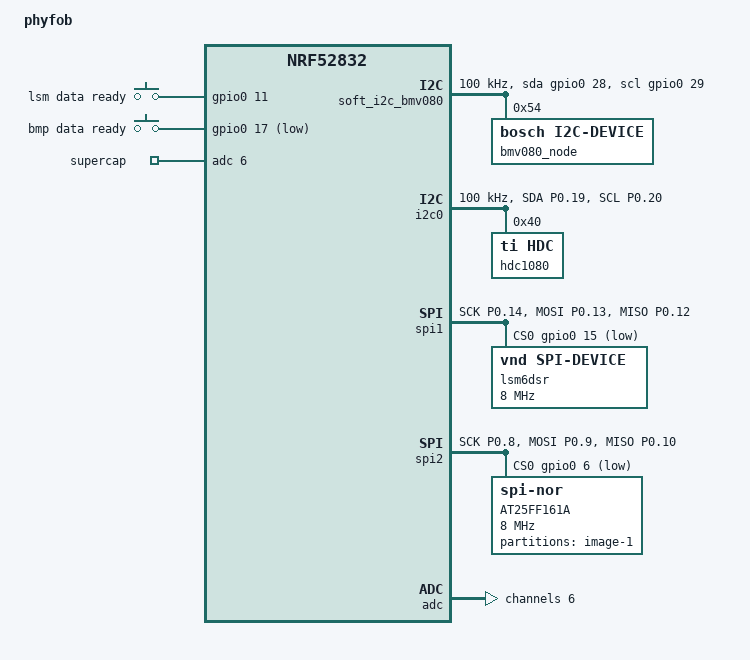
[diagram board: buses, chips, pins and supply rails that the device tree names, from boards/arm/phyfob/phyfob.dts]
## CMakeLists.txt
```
cmake_minimum_required(VERSION 3.20.0)


#list(APPEND ZEPHYR_EXTRA_MODULES "${CMAKE_CURRENT_SOURCE_DIR}/drivers")

find_package(Zephyr REQUIRED HINTS $ENV{ZEPHYR_BASE})


list(APPEND BOARD_ROOT "${PROJECT_SOURCE_DIR}/boards")
#add_subdirectory(drivers)

project(phyfob)
target_sources(app PRIVATE src/event.c)
target_sources(app PRIVATE src/ble.c)
target_sources(app PRIVATE src/hdc.c)
target_sources(app PRIVATE src/bmp5.c)
target_sources(app PRIVATE src/bmpZephyr.c)

target_sources(app PRIVATE src/lsm6dsr.c)
target_sources(app PRIVATE src/lsm6dsr_reg.c)

target_sources(app PRIVATE src/stcc4Zephyr.c)
target_sources(app PRIVATE src/sensirion_i2c.c)
target_sources(app PRIVATE src/stcc4_i2c.c)
target_sources(app PRIVATE src/sensirion_i2c_hal.c)
target_sources(app PRIVATE src/sensirion_common.c)
target_sources(app PRIVATE src/bmv080Zephyr.c)
target_sources(app PRIVATE src/supercap.c)

set(LIB_DIR ${CMAKE_CURRENT_SOURCE_DIR}/lib)
add_library(lib_bmv080 STATIC IMPORTED GLOBAL)
add_library(lib_postProcessor STATIC IMPORTED GLOBAL)
set_target_properties(lib_bmv080 PROPERTIES IMPORTED_LOCATION ${LIB_DIR}/lib_bmv080.a)
set_target_properties(lib_postProcessor PROPERTIES IMPORTED_LOCATION ${LIB_DIR}/lib_postProcessor.a)

message(STATUS "LIB_DIR = ${LIB_DIR}")

if(NOT EXISTS "${LIB_DIR}/lib_bmv080.a")
  message(FATAL_ERROR "lib_bmv080.a nicht gefunden: ${LIB_DIR}/lib_bmv080.a")
endif()

if(NOT EXISTS "${LIB_DIR}/lib_postProcessor.a")
  message(FATAL_ERROR "lib_postProcessor.a nicht gefunden: ${LIB_DIR}/lib_postProcessor.a")
endif()

target_link_libraries(app PRIVATE lib_bmv080)
target_link_libraries(app PRIVATE lib_postProcessor)

#target_sources(app PRIVATE src/bas.c)
target_sources(app PRIVATE src/main.c)
```

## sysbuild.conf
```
SB_CONFIG_PARTITION_MANAGER=y
SB_CONFIG_BOOTLOADER_MCUBOOT=y
SB_CONFIG_PM_EXTERNAL_FLASH_MCUBOOT_SECONDARY=y
SB_CONFIG_PM_OVERRIDE_EXTERNAL_DRIVER_CHECK=y
```

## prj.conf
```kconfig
CONFIG_NEWLIB_LIBC=y #needed for bmp581 library
#CONFIG_MULTITHREADING=y

CONFIG_SOC_NRF52832_QFAA=y
#CONFIG_SOC_NRF52832_ALLOW_SPIM_DESPITE_PAN_58=y
CONFIG_SOC_SERIES_NRF52X=y

CONFIG_PINCTRL=y

CONFIG_SENSOR=y

#CONFIG_HAS_STLIB=y
CONFIG_NFCT_PINS_AS_GPIOS=y

CONFIG_I2C=y
CONFIG_CBPRINTF_FP_SUPPORT=y

#BLE
CONFIG_BT=y
CONFIG_BT_PERIPHERAL=y

CONFIG_BT_DEVICE_NAME="Keyfob"
CONFIG_BT_DEVICE_NAME_DYNAMIC=y
CONFIG_BT_DEVICE_NAME_MAX=70
CONFIG_BT_CTLR_TX_PWR_PLUS_4=n

#reduce footprint
CONFIG_BT_CTLR_PRIVACY=n
CONFIG_BOOT_BANNER=n
CONFIG_SIZE_OPTIMIZATIONS=y

CONFIG_SPI_NRFX=y

###################

CONFIG_NEWLIB_LIBC_FLOAT_PRINTF=y
CONFIG_NEWLIB_LIBC_NANO=n

CONFIG_SYSTEM_WORKQUEUE_STACK_SIZE=1024
CONFIG_MAIN_STACK_SIZE=2048

CONFIG_POWEROFF=y
CONFIG_HW_STACK_PROTECTION=y
#low power

CONFIG_LOG=n
CONFIG_USE_SEGGER_RTT=n
CONFIG_PRINTK=n
CONFIG_SERIAL=n


###
CONFIG_PM_DEVICE=y
CONFIG_PM_DEVICE_RUNTIME=y
CONFIG_FLASH=y
CONFIG_SPI=y
#CONFIG_FLASH_SPI_NOR=y
CONFIG_BOARD_ENABLE_DCDC=y

CONFIG_CLOCK_CONTROL_NRF_K32SRC_RC=n
CONFIG_CLOCK_CONTROL_NRF_K32SRC_XTAL=y
CONFIG_CLOCK_CONTROL_NRF_K32SRC_SYNTH=n


#FOTA#############
CONFIG_ZCBOR=y
CONFIG_MCUMGR=y

# Enable most core commands.
CONFIG_FLASH_MAP=y
CONFIG_STREAM_FLASH=y

CONFIG_IMG_MANAGER=y
CONFIG_MCUMGR_GRP_IMG=y
CONFIG_MCUMGR_GRP_OS=y
#FOTANEW

# Ensure an MCUboot-compatible binary is generated.
CONFIG_BOOTLOADER_MCUBOOT=y

# Allow for large Bluetooth data packets.
CONFIG_BT_L2CAP_TX_MTU=247

CONFIG_BT_L2CAP_TX_BUF_COUNT=20

CONFIG_BT_L2CAP_DYNAMIC_CHANNEL=y

CONFIG_BT_BUF_ACL_RX_SIZE=251

CONFIG_BT_BUF_ACL_TX_SIZE=251
CONFIG_BT_BUF_ACL_TX_COUNT=20

CONFIG_BT_CTLR_RX_BUFFERS=2

CONFIG_BT_CONN_TX_MAX=20

CONFIG_BT_USER_PHY_UPDATE=y
CONFIG_BT_CTLR_PHY_2M=y
CONFIG_BT_USER_DATA_LEN_UPDATE=y
CONFIG_BT_AUTO_DATA_LEN_UPDATE=y
CONFIG_BT_CTLR_DATA_LENGTH_MAX=251

CONFIG_BT_ATT_PREPARE_COUNT=2

# Enable the Bluetooth (unauthenticated) and shell mcumgr transports.
CONFIG_MCUMGR_TRANSPORT_BT=y
CONFIG_MCUMGR_TRANSPORT_BT_AUTHEN=n


#CONFIG_ISR_STACK_SIZE=1024
CONFIG_MPSL_WORK_STACK_SIZE=1024

CONFIG_BT_LL_SW_SPLIT=n

#CONFIG_BT_LL_SOFTDEVICE=n
CONFIG_ADC=n
CONFIG_ADC_NRFX_SAADC=n
CONFIG_NRFX_SAADC=n
CONFIG_BT_BAS=n
```

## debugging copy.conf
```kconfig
CONFIG_NEWLIB_LIBC=y #needed for bmp581 library

CONFIG_SOC_NRF52832_QFAA=y
#CONFIG_SOC_NRF52832_ALLOW_SPIM_DESPITE_PAN_58=y
CONFIG_SOC_SERIES_NRF52X=y

CONFIG_PINCTRL=y

CONFIG_SENSOR=y

#CONFIG_HAS_STLIB=y

CONFIG_ADC=y
CONFIG_ADC_NRFX_SAADC=y
CONFIG_NRFX_SAADC=y
CONFIG_I2C=y
CONFIG_CBPRINTF_FP_SUPPORT=y

#BLE
CONFIG_BT=y
CONFIG_BT_PERIPHERAL=y

CONFIG_BT_DEVICE_NAME="Keyfob"
CONFIG_BT_DEVICE_NAME_DYNAMIC=y
CONFIG_BT_DEVICE_NAME_MAX=70


#reduce footprint
CONFIG_BT_CTLR_PRIVACY=n
CONFIG_BOOT_BANNER=y
CONFIG_SIZE_OPTIMIZATIONS=y

CONFIG_BT_BAS=n
#debugging
CONFIG_CONSOLE=y
CONFIG_PRINTK=y
CONFIG_USE_SEGGER_RTT=y
CONFIG_RTT_CONSOLE=y
CONFIG_LOG=y

#CONFIG_SEGGER_RTT_BUFFER_SIZE_UP=4096

CONFIG_LOG_PRINTK=y
#CONFIG_LOG_DEFAULT_LEVEL=3
#CONFIG_DEBUG_OPTIMIZATIONS=y

CONFIG_LOG_BACKEND_RTT=y
#CONFIG_LOG_MODE_IMMEDIATE=y

#CONFIG_SPI_LOG_LEVEL_INF=y
CONFIG_SPI_NRFX=y


###################

CONFIG_NEWLIB_LIBC_FLOAT_PRINTF=y
CONFIG_NEWLIB_LIBC_NANO=n

CONFIG_SYSTEM_WORKQUEUE_STACK_SIZE=1536
CONFIG_MAIN_STACK_SIZE=4096

#CONFIG_POWEROFF=y
CONFIG_HW_STACK_PROTECTION=y

###
CONFIG_PM_DEVICE=y
CONFIG_PM_DEVICE_RUNTIME=y
CONFIG_FLASH=y
CONFIG_SPI=y

CONFIG_BOARD_ENABLE_DCDC=y

CONFIG_CLOCK_CONTROL_NRF_K32SRC_RC=y
CONFIG_CLOCK_CONTROL_NRF_K32SRC_XTAL=n
CONFIG_CLOCK_CONTROL_NRF_K32SRC_SYNTH=n

#CONFIG_BT_CTLR_TX_PWR_MINUS_16=y


#FOTA#############
CONFIG_ZCBOR=y
CONFIG_MCUMGR=y

# Enable most core commands.
CONFIG_FLASH_MAP=y
CONFIG_STREAM_FLASH=y

#CONFIG_IMG_MANAGER=y
CONFIG_MCUMGR_GRP_IMG=y
CONFIG_MCUMGR_GRP_OS=y
#FOTANEW

# Ensure an MCUboot-compatible binary is generated.
CONFIG_BOOTLOADER_MCUBOOT=y

# Allow for large Bluetooth data packets.
CONFIG_BT_L2CAP_TX_MTU=247

CONFIG_BT_L2CAP_TX_BUF_COUNT=20

CONFIG_BT_L2CAP_DYNAMIC_CHANNEL=y

CONFIG_BT_BUF_ACL_RX_SIZE=251

CONFIG_BT_BUF_ACL_TX_SIZE=251
CONFIG_BT_BUF_ACL_TX_COUNT=20

CONFIG_BT_CTLR_RX_BUFFERS=2

CONFIG_BT_CONN_TX_MAX=20

CONFIG_BT_USER_PHY_UPDATE=y
CONFIG_BT_CTLR_PHY_2M=y
CONFIG_BT_USER_DATA_LEN_UPDATE=y
CONFIG_BT_AUTO_DATA_LEN_UPDATE=y
CONFIG_BT_CTLR_DATA_LENGTH_MAX=251

CONFIG_BT_ATT_PREPARE_COUNT=2

# Enable the Bluetooth (unauthenticated) and shell mcumgr transports.
CONFIG_MCUMGR_TRANSPORT_BT=y
CONFIG_MCUMGR_TRANSPORT_BT_AUTHEN=n

#CONFIG_LSM6DSR=y


#CONFIG_THREAD_NAME=y
#CONFIG_THREAD_ANALYZER=y
#CONFIG_THREAD_ANALYZER_AUTO=y
#CONFIG_THREAD_ANALYZER_RUN_UNLOCKED=y
#CONFIG_THREAD_ANALYZER_USE_PRINTK=y

#CONFIG_ISR_STACK_SIZE=1024
CONFIG_MPSL_WORK_STACK_SIZE=1024

CONFIG_BT_LL_SW_SPLIT=y

#CONFIG_BT_LL_SOFTDEVICE=n
```

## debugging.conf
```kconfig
#reduce footprint
CONFIG_BOOT_BANNER=y
CONFIG_SIZE_OPTIMIZATIONS=y

#debugging

CONFIG_CONSOLE=y
CONFIG_PRINTK=y
CONFIG_USE_SEGGER_RTT=y
CONFIG_RTT_CONSOLE=y
CONFIG_LOG=y
CONFIG_LOG_BUFFER_SIZE=2948

CONFIG_SEGGER_RTT_BUFFER_SIZE_UP=1024
CONFIG_SPI_NOR_SFDP_RUNTIME=y
CONFIG_LOG_PRINTK=y
# Cut BT-stack INFO noise (bt_hci_core/bt_sdc_hci_driver etc.) at boot - it
# was competing with our own printk() output for the small RTT buffer,
# causing our BMV080 init messages to get silently dropped right at boot.
CONFIG_LOG_DEFAULT_LEVEL=2
#CONFIG_DEBUG_OPTIMIZATIONS=y

CONFIG_LOG_BACKEND_RTT=y
CONFIG_LOG_MODE_IMMEDIATE=y


#CONFIG_POWEROFF=y
CONFIG_HW_STACK_PROTECTION=y

###
CONFIG_PM_DEVICE=y
CONFIG_PM_DEVICE_RUNTIME=y

CONFIG_MCUMGR_GRP_IMG=n
CONFIG_MCUMGR_GRP_OS=n

CONFIG_PM_EXTERNAL_FLASH_MCUBOOT_SECONDARY=n
#FOTANEW

# Ensure an MCUboot-compatible binary is generated.
CONFIG_BOOTLOADER_MCUBOOT=n

CONFIG_MCUMGR=n
CONFIG_MCUMGR_TRANSPORT_BT=n
CONFIG_MCUMGR_TRANSPORT_BT_CONN_PARAM_CONTROL=n
CONFIG_MCUMGR_GRP_OS_BOOTLOADER_INFO=n
CONFIG_MCUMGR_TRANSPORT_BT_REASSEMBLY=n

# This build has almost no RAM headroom left (debug/RTT overhead on top of
# the same base), so it stays at the original small BLE MTU/buffer sizes
# instead of prj_3v3.conf's mtu=90 (see comment there) - phyphox falls back
# to whatever the fixed sensors' own experiments (not the batched/repeating
# ones) request, or the phyphox-side default MTU.
CONFIG_BT_L2CAP_TX_MTU=27
CONFIG_BT_BUF_ACL_RX_SIZE=27
CONFIG_BT_BUF_ACL_TX_SIZE=27
CONFIG_BT_CTLR_DATA_LENGTH_MAX=27
```

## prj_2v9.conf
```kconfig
CONFIG_NEWLIB_LIBC=y #needed for bmp581 library
#CONFIG_MULTITHREADING=y

CONFIG_SOC_NRF52832_QFAA=y
#CONFIG_SOC_NRF52832_ALLOW_SPIM_DESPITE_PAN_58=y
CONFIG_SOC_SERIES_NRF52X=y

CONFIG_PINCTRL=y

CONFIG_SENSOR=y

#CONFIG_HAS_STLIB=y
#CONFIG_NFCT_PINS_AS_GPIOS=y

CONFIG_I2C=y
CONFIG_CBPRINTF_FP_SUPPORT=y

#BLE
CONFIG_BT=y
CONFIG_BT_PERIPHERAL=y

CONFIG_BT_DEVICE_NAME="Keyfob"
CONFIG_BT_DEVICE_NAME_DYNAMIC=y
CONFIG_BT_DEVICE_NAME_MAX=70
CONFIG_BT_CTLR_TX_PWR_PLUS_4=n

#reduce footprint
CONFIG_BT_CTLR_PRIVACY=n
CONFIG_BOOT_BANNER=n
CONFIG_SIZE_OPTIMIZATIONS=y

CONFIG_SPI_NRFX=y
CONFIG_SPI_NOR=y
CONFIG_SPI_NOR_SFDP_DEVICETREE=y
CONFIG_SPI_NOR_FLASH_LAYOUT_PAGE_SIZE=4096
###################

CONFIG_NEWLIB_LIBC_FLOAT_PRINTF=y
CONFIG_NEWLIB_LIBC_NANO=n

CONFIG_SYSTEM_WORKQUEUE_STACK_SIZE=1024
CONFIG_MAIN_STACK_SIZE=2048

CONFIG_POWEROFF=y
CONFIG_HW_STACK_PROTECTION=y
#low power

CONFIG_LOG=n
CONFIG_USE_SEGGER_RTT=n
CONFIG_PRINTK=n
CONFIG_SERIAL=n


###
CONFIG_PM_DEVICE=y
CONFIG_PM_DEVICE_RUNTIME=y
CONFIG_FLASH=y
CONFIG_SPI=y
#CONFIG_FLASH_SPI_NOR=y
CONFIG_BOARD_ENABLE_DCDC=y

CONFIG_CLOCK_CONTROL_NRF_K32SRC_RC=n
CONFIG_CLOCK_CONTROL_NRF_K32SRC_XTAL=y
CONFIG_CLOCK_CONTROL_NRF_K32SRC_SYNTH=n


#FOTA#############
CONFIG_NET_BUF=y
CONFIG_ZCBOR=y
CONFIG_MCUMGR=y
CONFIG_MCUMGR_TRANSPORT_BT=y
CONFIG_MCUMGR_TRANSPORT_BT_CONN_PARAM_CONTROL=y
CONFIG_MCUMGR_GRP_OS_BOOTLOADER_INFO=y
CONFIG_MCUMGR_TRANSPORT_BT_REASSEMBLY=y

# Enable most core commands.
CONFIG_FLASH_MAP=y
CONFIG_STREAM_FLASH=y

CONFIG_IMG_MANAGER=y
CONFIG_MCUMGR_GRP_IMG=y
CONFIG_MCUMGR_GRP_OS=y
#FOTANEW

# Ensure an MCUboot-compatible binary is generated.
CONFIG_BOOTLOADER_MCUBOOT=y

# Allow for large Bluetooth data packets.
CONFIG_BT_L2CAP_TX_MTU=247

CONFIG_BT_L2CAP_TX_BUF_COUNT=6

CONFIG_BT_L2CAP_DYNAMIC_CHANNEL=y

CONFIG_BT_BUF_ACL_RX_SIZE=251

CONFIG_BT_BUF_ACL_TX_SIZE=251
CONFIG_BT_BUF_ACL_TX_COUNT=6

#CONFIG_BT_CTLR_RX_BUFFERS=2
CONFIG_WARN_DEPRECATED=n

CONFIG_BT_CONN_TX_MAX=6

CONFIG_BT_USER_PHY_UPDATE=y
CONFIG_BT_CTLR_PHY_2M=y
CONFIG_BT_USER_DATA_LEN_UPDATE=y
CONFIG_BT_AUTO_DATA_LEN_UPDATE=y
CONFIG_BT_CTLR_DATA_LENGTH_MAX=251

CONFIG_BT_ATT_PREPARE_COUNT=2

# Enable the Bluetooth (unauthenticated) and shell mcumgr transports.
CONFIG_MCUMGR_TRANSPORT_BT_PERM_RW=n


#CONFIG_ISR_STACK_SIZE=1024
CONFIG_MPSL_WORK_STACK_SIZE=1024

CONFIG_BT_LL_SW_SPLIT=n

#CONFIG_BT_LL_SOFTDEVICE=n
CONFIG_ADC=n
CONFIG_ADC_NRFX_SAADC=n
CONFIG_NRFX_SAADC=n
CONFIG_BT_BAS=n
```

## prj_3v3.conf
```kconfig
CONFIG_NEWLIB_LIBC=y #needed for bmp581 library
CONFIG_MULTITHREADING=y

#CONFIG_SOC_NRF52832_ALLOW_SPIM_DESPITE_PAN_58=y

CONFIG_PINCTRL=y

CONFIG_SENSOR=y

#CONFIG_HAS_STLIB=y
CONFIG_NFCT_PINS_AS_GPIOS=y

CONFIG_SPI_NOR_SFDP_RUNTIME=y

CONFIG_I2C=y
CONFIG_CBPRINTF_FP_SUPPORT=y

#BLE
CONFIG_BT=y
CONFIG_BT_PERIPHERAL=y

CONFIG_BT_DEVICE_NAME="phyfob"
CONFIG_BT_DEVICE_NAME_DYNAMIC=y
CONFIG_BT_DEVICE_NAME_MAX=40
CONFIG_BT_CTLR_TX_PWR_PLUS_4=n

#reduce footprint
CONFIG_BT_CTLR_PRIVACY=n
CONFIG_BOOT_BANNER=n
CONFIG_SIZE_OPTIMIZATIONS=y

CONFIG_SPI_NRFX=y
CONFIG_SPI_NOR=y
CONFIG_NORDIC_QSPI_NOR=n
CONFIG_SPI_NOR_SFDP_DEVICETREE=n
CONFIG_SPI_NOR_FLASH_LAYOUT_PAGE_SIZE=4096
###################

CONFIG_NEWLIB_LIBC_FLOAT_PRINTF=y
CONFIG_NEWLIB_LIBC_NANO=n

CONFIG_SYSTEM_WORKQUEUE_STACK_SIZE=1024
CONFIG_MAIN_STACK_SIZE=2048

# GATT write callbacks (incl. datalog_configure()/datalog_dump(), which now
# synchronously call into the SPI flash driver and bt_gatt_notify_uuid())
# run on the BT RX thread. The Zephyr default (1024 here) is too tight for
# that call chain, especially in debug builds with -Og.
CONFIG_BT_RX_STACK_SIZE=2048

#CONFIG_POWEROFF=y
CONFIG_HW_STACK_PROTECTION=y
#low power

CONFIG_LOG=n
CONFIG_USE_SEGGER_RTT=n
CONFIG_PRINTK=n
CONFIG_SERIAL=n


###
CONFIG_PM_DEVICE=y
CONFIG_PM_DEVICE_RUNTIME=y
CONFIG_FLASH=y
CONFIG_SPI=y
CONFIG_PM_OVERRIDE_EXTERNAL_DRIVER_CHECK=y
#CONFIG_FLASH_SPI_NOR=y
CONFIG_BOARD_ENABLE_DCDC=y

CONFIG_CLOCK_CONTROL_NRF_K32SRC_RC=n
CONFIG_CLOCK_CONTROL_NRF_K32SRC_XTAL=y
CONFIG_CLOCK_CONTROL_NRF_K32SRC_SYNTH=n


#FOTA#############
CONFIG_MCUMGR_TRANSPORT_BT_PERM_RW_AUTHEN=n
CONFIG_NET_BUF=y
CONFIG_ZCBOR=y
CONFIG_MCUMGR=y
CONFIG_MCUMGR_TRANSPORT_BT=y
CONFIG_MCUMGR_TRANSPORT_BT_CONN_PARAM_CONTROL=y
CONFIG_MCUMGR_GRP_OS_BOOTLOADER_INFO=y
CONFIG_MCUMGR_TRANSPORT_BT_REASSEMBLY=y

# Enable most core commands.
CONFIG_STREAM_FLASH=y

CONFIG_IMG_MANAGER=y
CONFIG_MCUMGR_GRP_IMG=y
CONFIG_MCUMGR_GRP_OS=y

CONFIG_PM_EXTERNAL_FLASH_MCUBOOT_SECONDARY=y
#FOTANEW

# Standard BLE Device Information Service (0x180A), so any generic BLE
# client (not just mcumgr-aware tooling) can read the firmware version via
# the standard Firmware Revision String characteristic (0x2A26). Populated
# automatically from the same VERSION file that signs the MCUboot image.
CONFIG_BT_DIS=y
CONFIG_BT_DIS_FW_REV=y
CONFIG_BT_DIS_MANUF_NAME_STR="phyphox"
# PnP ID would just be a meaningless 0/0/0 placeholder without a real
# registered Vendor ID (Bluetooth SIG or USB-IF) - not worth the clutter.
CONFIG_BT_DIS_PNP=n

# Ensure an MCUboot-compatible binary is generated.
CONFIG_BOOTLOADER_MCUBOOT=y

CONFIG_FLASH_MAP=y

# CRC over the datalog settings record kept in the last sector of the
# datalog partition, so a half-written one is not restored as garbage.
CONFIG_CRC=y

# Allow for large Bluetooth data packets.
CONFIG_BT_L2CAP_TX_MTU=247

CONFIG_BT_L2CAP_TX_BUF_COUNT=10

CONFIG_BT_L2CAP_DYNAMIC_CHANNEL=y

CONFIG_BT_BUF_ACL_RX_SIZE=251

CONFIG_BT_BUF_ACL_TX_SIZE=251
CONFIG_BT_BUF_ACL_TX_COUNT=10

CONFIG_BT_CTLR_RX_BUFFERS=2

CONFIG_BT_CONN_TX_MAX=10

CONFIG_BT_USER_PHY_UPDATE=y
CONFIG_BT_CTLR_PHY_2M=y
CONFIG_BT_USER_DATA_LEN_UPDATE=y
CONFIG_BT_AUTO_DATA_LEN_UPDATE=y
CONFIG_BT_CTLR_DATA_LENGTH_MAX=251

CONFIG_BT_ATT_PREPARE_COUNT=2

# Enable the Bluetooth (unauthenticated) and shell mcumgr transports.
CONFIG_BT=y

#CONFIG_ISR_STACK_SIZE=1024
CONFIG_MPSL_WORK_STACK_SIZE=1024

CONFIG_BT_LL_SW_SPLIT=n

#CONFIG_BT_LL_SOFTDEVICE=n
CONFIG_ADC=n
CONFIG_ADC_NRFX_SAADC=n
CONFIG_NRFX_SAADC=n
CONFIG_BT_BAS=n
```

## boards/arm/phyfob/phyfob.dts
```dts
/*
 * Copyright (c) 2017 Linaro Limited
 *
 * SPDX-License-Identifier: Apache-2.0
 */

 /dts-v1/;
 #include <nordic/nrf52832_qfaa.dtsi>

 / {
	 model = "phyfob";
	 compatible = "phyphox,phyfob";
	 aliases {
		i2c = &i2c0;
		spi= &spi1;
		spi2= &spi2;
		hdc = &hdc_node;
		bmv080 = &bmv080_node;
	 };

	 chosen {
		 zephyr,console = &uart0;
		 zephyr,shell-uart = &uart0;
		 zephyr,uart-mcumgr = &uart0;
		 zephyr,bt-mon-uart = &uart0;
		 zephyr,bt-c2h-uart = &uart0;
		 zephyr,sram = &sram0;
		 zephyr,flash = &flash0;
		 nordic,pm-ext-flash = &at25ff161a;
		 zephyr,code-partition = &slot0_partition;
	 };

	 leds {
		 compatible = "gpio-leds";
	 };
	buttons {
		compatible = "gpio-keys";
		button0: button_0 { //
			gpios = <&gpio0 11 (GPIO_ACTIVE_HIGH)>;
			label = "lsm data ready";
		};
		button1: button_1 { // gpio31 P0.27
			gpios = <&gpio0 17 ( GPIO_PULL_UP | GPIO_ACTIVE_LOW)>;
			label = "bmp data ready";
		};
	};

	/* Supercap voltage sense on P0.30 (AIN6), behind a 2x 1 MOhm divider
	 * (see SUPERCAP_DIVIDER_RATIO in src/supercap.h) - the supercap can
	 * charge above the nRF52832's safe pin voltage, never wire it directly. */
	zephyr,user {
		io-channels = <&adc 6>;
		io-channel-names = "supercap";
	};
 };

 &pinctrl {
    i2c0_default: i2c0_default {
		group1 {
			psels = <NRF_PSEL(TWIM_SDA, 0, 19)>, <NRF_PSEL(TWIM_SCL, 0, 20)>;
			bias-disable;
		};

	};
    i2c0_sleep: i2c0_sleep {
		group1 {
			psels = <NRF_PSEL(TWIM_SDA, 0, 19)>, <NRF_PSEL(TWIM_SCL, 0, 20)>;
			low-power-enable;
		};

	};
	spi_master_default: spi_master_default {
		group1 {
			psels = <NRF_PSEL(SPIM_SCK, 0, 14)>,
					<NRF_PSEL(SPIM_MOSI, 0, 13)>,
					<NRF_PSEL(SPIM_MISO, 0, 12)>;
		};
	};
	spi_master_sleep: spi_master_sleep {
		group1 {
			psels = <NRF_PSEL(SPIM_SCK, 0, 14)>,
					<NRF_PSEL(SPIM_MOSI, 0, 13)>,
					<NRF_PSEL(SPIM_MISO, 0, 12)>;
			low-power-enable;
		};
	};
	spi_flash_default: spi_flash_default {
		group1 {
			psels = <NRF_PSEL(SPIM_SCK, 0, 8)>,
					<NRF_PSEL(SPIM_MOSI, 0, 9)>,
					<NRF_PSEL(SPIM_MISO, 0, 10)>;
		};
	};
	spi_flash_sleep: spi_flash_sleep {
		group1 {
			psels = <NRF_PSEL(SPIM_SCK, 0, 8)>,
					<NRF_PSEL(SPIM_MOSI, 0, 9)>,
					<NRF_PSEL(SPIM_MISO, 0, 10)>;
			low-power-enable;
		};
	};
};

 i2c_0: &i2c0 {
    compatible = "nordic,nrf-twim";
    status = "okay";
    //sda-pin = < 26 >;
    //scl-pin = < 6 >;
	pinctrl-0 = <&i2c0_default>;
	pinctrl-1 = <&i2c0_sleep>;
	pinctrl-names = "default", "sleep";
    label = "i2c";
    clock-frequency = <I2C_BITRATE_STANDARD>;

	hdc_node: hdc1080@40 {
		compatible =  "ti,hdc","ti,hdc1080";
		reg = <0x40>;
		label = "hdc1080";
	};
};

/* BMV080 on its own software (bit-banged) I2C bus on the more accessible
 * P0.28/P0.29 header pins - both hardware TWI-capable peripherals on this
 * chip are already spoken for (i2c0 above for HDC/STCC4/BMP, i2c1's shared
 * silicon block is in use as spi1 for the LSM6DSR), and spi2 (external
 * flash) is a dedicated SPI-only block with no I2C alternative at all. */
/ {
	soft_i2c_bmv080: i2c-gpio-bmv080 {
		compatible = "gpio-i2c";
		status = "okay";
		#address-cells = <1>;
		#size-cells = <0>;
		sda-gpios = <&gpio0 28 (GPIO_OPEN_DRAIN | GPIO_PULL_UP)>;
		scl-gpios = <&gpio0 29 (GPIO_OPEN_DRAIN | GPIO_PULL_UP)>;
		clock-frequency = <I2C_BITRATE_STANDARD>;

		bmv080_node: bmv080@54 {
			compatible = "bosch,i2c-device";
			reg = <0x54>; /* This is the 7-bit I2C address */
			status = "okay";
		};
	};
};

my_spi_master: &spi1 {
	compatible = "nordic,nrf-spi";
	status = "okay";
	pinctrl-0 = <&spi_master_default>;
	pinctrl-1 = <&spi_master_sleep>;
	pinctrl-names = "default", "sleep";
	cs-gpios = <&gpio0 15 ( GPIO_PULL_UP | GPIO_ACTIVE_LOW)>;

	lsm6dsr: lsm6dsr@0 {
		status = "okay";
		compatible = "vnd,spi-device";
		reg = <0>;
		spi-max-frequency = < 8000000 >;
	};

};

flash_spi_master: &spi2 {
	compatible = "nordic,nrf-spi";
	status = "okay";
	pinctrl-0 = <&spi_flash_default>;
	pinctrl-1 = <&spi_flash_sleep>;
	pinctrl-names = "default", "sleep";
	cs-gpios = <&gpio0 6 ( GPIO_PULL_UP | GPIO_ACTIVE_LOW)>;

	at25ff161a: at25ff161a@0 {
		status = "okay";
        compatible = "jedec,spi-nor";
        reg = <0>;
        spi-max-frequency = <8000000>;
        label = "AT25FF161A";
		/*[c2 28 15] [1f 46 08] (mx25)(at25)*/
        jedec-id = [c2 28 15];
        size = <0x200000>;/* 2 MByte */
		has-dpd;
		t-enter-dpd = <3000>;
		t-exit-dpd = <160000>;
    };


};

 &adc {
	status = "okay";
	#address-cells = <1>;
	#size-cells = <0>;
	channel@6 {
		reg = <6>;
		zephyr,gain = "ADC_GAIN_1_6";
		zephyr,reference = "ADC_REF_INTERNAL";
		zephyr,acquisition-time = <ADC_ACQ_TIME_DEFAULT>;
		zephyr,input-positive = <NRF_SAADC_AIN6>;
		zephyr,resolution = <12>;
	};
 };


 &gpiote {
	 status = "okay";
 };

 &gpio0 {
	 status = "okay";
	 sense-edge-mask = < 0xffffffff >;
 };

 /*
 &gpio1 {
	 status = "okay";
 };
 */

 &uart0 {
	 compatible = "nordic,nrf-uarte";
	 status = "disabled";
	 //current-speed = <115200>;
	 //tx-pin = <17>;
	 //rx-pin = <8>;
	 //rts-pin = <5>;
	 //cts-pin = <7>;
 };

 &flash0 {

	partitions {
		compatible = "fixed-partitions";
		#address-cells = <1>;
		#size-cells = <1>;

		boot_partition: partition@0 {
			label = "mcuboot";
			reg = <0x00000000 0xC000>;
		};
		slot0_partition: partition@c000 {
			label = "image-0";
			reg = <0x0000C000 0x00034000>;
		};
		storage_partition: partition@40000 {
			label = "storage";
			reg = <0x00040000 0x00004000>;
		};
	};
 };
 &at25ff161a {
	partitions {
		compatible = "fixed-partitions";
		#address-cells = <1>;
		#size-cells = <1>;

		slot1_partition: partition@0 {
			label = "image-1";
			reg = <0x00000000 0x00034000>;
		};

		/* optional weitere Partitionen, z.B. FS, settings */
	};
};
```

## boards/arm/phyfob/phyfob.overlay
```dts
&uicr {
    nfct-pins-as-gpios;
};
/* NOTE: this file is NOT automatically applied by the build (verified: only
 * sysbuild/mcuboot.overlay gets picked up for this board/app layout) - it
 * has always been dead/inert. The supercap ADC config that used to be
 * sketched here (commented out) now lives directly in phyfob.dts instead,
 * where it actually takes effect. Kept only for reference/history. */
/*
/ {
	zephyr,user {
		io-channels = <&adc 4>;
		io-channel-names = "A0";
	};
};


&adc {
	#address-cells = <1>;
	#size-cells = <0>;
	channel@4 {
		reg = <4>;
		zephyr,gain = "ADC_GAIN_1_6";
		zephyr,reference = "ADC_REF_INTERNAL";
		zephyr,acquisition-time = <ADC_ACQ_TIME_DEFAULT>;
		zephyr,input-positive = <NRF_SAADC_VDD>;
		zephyr,resolution = <12>;
	};

};
*/
```

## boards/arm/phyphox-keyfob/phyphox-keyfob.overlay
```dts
&uicr {
    nfct-pins-as-gpios;
};
/*
/ {
	zephyr,user {
		io-channels = <&adc 4>;
		io-channel-names = "A0";
	};
};


&adc {
	#address-cells = <1>;
	#size-cells = <0>;
	channel@4 {
		reg = <4>;
		zephyr,gain = "ADC_GAIN_1_6";
		zephyr,reference = "ADC_REF_INTERNAL";
		zephyr,acquisition-time = <ADC_ACQ_TIME_DEFAULT>;
		zephyr,input-positive = <NRF_SAADC_VDD>;
		zephyr,resolution = <12>;
	};

};
*/
```

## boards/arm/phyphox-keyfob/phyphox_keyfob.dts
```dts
/*
 * Copyright (c) 2017 Linaro Limited
 *
 * SPDX-License-Identifier: Apache-2.0
 */

 /dts-v1/;
 #include <nordic/nrf52832_qfaa.dtsi>
 
 / {
	 model = "phyphox-keyfob";
	 compatible = "phyphox,phyphox-keyfob";
	 aliases {
		i2c = &i2c0;
		spi= &spi1;
		spi2= &spi2;
		hdc = &hdc_node;
	 };
 
	 chosen {
		 zephyr,console = &uart0;
		 zephyr,shell-uart = &uart0;
		 zephyr,uart-mcumgr = &uart0;
		 zephyr,bt-mon-uart = &uart0;
		 zephyr,bt-c2h-uart = &uart0;
		 zephyr,sram = &sram0;
		 zephyr,flash = &flash0;
		 nordic,pm-ext-flash = &at25ff161a;

		 zephyr,code-partition = &slot0_partition;
	 };
 
	 leds {
		 compatible = "gpio-leds";		 
	 };
	buttons {
		compatible = "gpio-keys";
		button0: button_0 { // 
			gpios = <&gpio0 11 (GPIO_ACTIVE_HIGH)>;
			label = "lsm data ready";
		};
		button1: button_1 { // gpio31 P0.27
			gpios = <&gpio0 17 ( GPIO_PULL_UP | GPIO_ACTIVE_LOW)>;
			label = "bmp data ready";
		};
	};
 };

 &pinctrl {
    i2c0_default: i2c0_default {
		group1 {
			psels = <NRF_PSEL(TWIM_SDA, 0, 19)>, <NRF_PSEL(TWIM_SCL, 0, 20)>;
			bias-disable;
		};
		
	};
    i2c0_sleep: i2c0_sleep {
		group1 {
			psels = <NRF_PSEL(TWIM_SDA, 0, 19)>, <NRF_PSEL(TWIM_SCL, 0, 20)>;
			low-power-enable;
		};
		
	};
	spi_master_default: spi_master_default {
		group1 {
			psels = <NRF_PSEL(SPIM_SCK, 0, 14)>,
					<NRF_PSEL(SPIM_MOSI, 0, 13)>,
					<NRF_PSEL(SPIM_MISO, 0, 12)>;
		};
	};
	spi_master_sleep: spi_master_sleep {
		group1 {
			psels = <NRF_PSEL(SPIM_SCK, 0, 14)>,
					<NRF_PSEL(SPIM_MOSI, 0, 13)>,
					<NRF_PSEL(SPIM_MISO, 0, 12)>;
			low-power-enable;
		};
	};
	spi_flash_default: spi_flash_default {
		group1 {
			psels = <NRF_PSEL(SPIM_SCK, 0, 8)>,
					<NRF_PSEL(SPIM_MOSI, 0, 9)>,
					<NRF_PSEL(SPIM_MISO, 0, 10)>;
		};
	};
	spi_flash_sleep: spi_flash_sleep {
		group1 {
			psels = <NRF_PSEL(SPIM_SCK, 0, 8)>,
					<NRF_PSEL(SPIM_MOSI, 0, 9)>,
					<NRF_PSEL(SPIM_MISO, 0, 10)>;
			low-power-enable;
		};
	};		
};

 i2c_0: &i2c0 {
    compatible = "nordic,nrf-twim";
    status = "okay";
    //sda-pin = < 26 >;
    //scl-pin = < 6 >;
	pinctrl-0 = <&i2c0_default>;
	pinctrl-1 = <&i2c0_sleep>;
	pinctrl-names = "default", "sleep";
    label = "i2c";
    clock-frequency = <I2C_BITRATE_STANDARD>;

	hdc_node: hdc1080@40 {
		compatible =  "ti,hdc","ti,hdc1080";
		reg = <0x40>;
		label = "hdc1080";
	};
};

my_spi_master: &spi1 {
	compatible = "nordic,nrf-spi";
	status = "okay";
	pinctrl-0 = <&spi_master_default>;
	pinctrl-1 = <&spi_master_sleep>;
	pinctrl-names = "default", "sleep";
	cs-gpios = <&gpio0 15 ( GPIO_PULL_UP | GPIO_ACTIVE_LOW)>;
	
	lsm6dsr: lsm6dsr@0 {
		status = "okay";
		compatible = "vnd,spi-device";
		reg = <0>;
		spi-max-frequency = < 8000000 >;
	};
	
};

flash_spi_master: &spi2 {
	compatible = "nordic,nrf-spi";
	status = "okay";
	pinctrl-0 = <&spi_flash_default>;
	pinctrl-1 = <&spi_flash_sleep>;
	pinctrl-names = "default", "sleep";
	cs-gpios = <&gpio0 6 ( GPIO_PULL_UP | GPIO_ACTIVE_LOW)>;
	
	at25ff161a: at25ff161a@0 {
		status = "okay";
        compatible = "jedec,spi-nor";
        reg = <0>;
        spi-max-frequency = <8000000>;
        label = "AT25FF161A";
		/*[c2 28 15] [1f 46 08] (mx25)(at25)*/
        jedec-id = [c2 28 15];
        size = <0x200000>;/* 2 MByte */	
		has-dpd;
		t-enter-dpd = <3000>;
		t-exit-dpd = <160000>;
		sfdp-bfp = [

		e5 20 f1 ff ff ff ff 00 44 eb 08 6b 08 3b 04 bb

		ee ff ff ff ff ff 00 ff ff ff 00 ff 0c 20 0f 52

		10 d8 00 ff 23 72 f5 00 82 ed 04 c3 44 83 48 44

		30 b0 30 b0 f7 c4 d5 5c 00 be 29 ff f0 d0 ff ff

		];
		
    };
	
	
};
 
 &adc {
	 status = "disabled";
 };
 
 
 &gpiote {
	 status = "okay";
 };
 
 &gpio0 {
	 status = "okay";
	 sense-edge-mask = < 0xffffffff >;
 };
 
 /*
 &gpio1 {
	 status = "okay";
 };
 */
 
 &uart0 {
	 compatible = "nordic,nrf-uarte";
	 status = "disabled";
	 //current-speed = <115200>;
	 //tx-pin = <17>;
	 //rx-pin = <8>;
	 //rts-pin = <5>;
	 //cts-pin = <7>;
 };
 
 &flash0 {
 
	partitions {
		compatible = "fixed-partitions";
		#address-cells = <1>;
		#size-cells = <1>;

		boot_partition: partition@0 {
			label = "mcuboot";
			reg = <0x00000000 0xC000>;
		};
		slot0_partition: partition@c000 {
			label = "image-0";
			reg = <0x0000C000 0x00034000>;
		};
		storage_partition: partition@40000 {
			label = "storage";
			reg = <0x00040000 0x00004000>;
		};
	};
 };
 &at25ff161a {
	partitions {
		compatible = "fixed-partitions";
		#address-cells = <1>;
		#size-cells = <1>;

		mcuboot_secondary: partition@0 {
			label = "mcuboot_secondary";
			reg = <0x00000000 0x00034000>; /* Größe passend zu primary */
		};

		/* optional weitere Partitionen, z.B. FS, settings */
	};
};

  
```

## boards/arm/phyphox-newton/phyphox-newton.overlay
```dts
/ {
	zephyr,user {
		io-channels = <&adc 1>;
	};
};

&adc {
	#address-cells = <1>;
	#size-cells = <0>;
	channel@1 {
		reg = <1>;
		zephyr,gain = "ADC_GAIN_1_6";
		zephyr,reference = "ADC_REF_INTERNAL";
		zephyr,acquisition-time = <ADC_ACQ_TIME_DEFAULT>;
		zephyr,input-positive = <NRF_SAADC_AIN7>;
		zephyr,resolution = <12>;
	};

};
```

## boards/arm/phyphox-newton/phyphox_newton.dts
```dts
/*
 * Copyright (c) 2017 Linaro Limited
 *
 * SPDX-License-Identifier: Apache-2.0
 */

 /dts-v1/;
 #include <nordic/nrf52833_qiaa.dtsi>
 
 / {
	 model = "phyphox-newton";
	 compatible = "phyphox,newton-n1";
	 aliases {
		i2c = &i2c0;
		spi= &spi1;
		led-blue = &led0;
		led-red = &led1;
		led-green = &led2;
		shtc-3 = &shtc3_node;
	 };
 
	 chosen {
		 zephyr,console = &uart0;
		 zephyr,shell-uart = &uart0;
		 zephyr,uart-mcumgr = &uart0;
		 zephyr,bt-mon-uart = &uart0;
		 zephyr,bt-c2h-uart = &uart0;
		 zephyr,sram = &sram0;
		 zephyr,flash = &flash0;
		 zephyr,code-partition = &slot0_partition;
	 };
 
	 leds {
		 compatible = "gpio-leds";
		 led0: led_0 {
			 gpios = <&gpio0 28 GPIO_ACTIVE_LOW>;
			 label = "Blue LED";
		 };
		 led1: led_1 {
			 gpios = <&gpio0 29 GPIO_ACTIVE_LOW>;
			 label = "Red LED";
		 };
		 led2: led_2 {
			gpios = <&gpio0 30 GPIO_ACTIVE_LOW>;
			label = "Green LED";
		};		 
	 };
	buttons {
		compatible = "gpio-keys";
		button0: button_0 { // INT1 P0.12 Gpio 15 ; INT2 P0.11 GPIO14
			gpios = <&gpio0 12 (GPIO_ACTIVE_LOW)>;
			label = "bmi data ready";
		};
		button1: button_1 { // gpio31 P0.27
			gpios = <&gpio0 27 (GPIO_ACTIVE_LOW)>;
			label = "bmp data ready";
		};
		button2: button_2 { // gpio40 P0.15
			gpios = <&gpio0 15 (GPIO_ACTIVE_LOW)>;
			label = "veml6030 data ready";
		};
		button3: button_3 { // gpio39 P0.23
			gpios = <&gpio0 23 (GPIO_ACTIVE_HIGH)>;
			label = "mlx XShut";
		};
		button4: button_4 { // gpio19 P0.03
			gpios = <&gpio0 3 (GPIO_ACTIVE_LOW)>;
			label = "vl53 data ready";
		};
	};
 };

 &pinctrl {
    i2c0_default: i2c0_default {
		group1 {
			psels = <NRF_PSEL(TWIM_SDA, 0, 26)>, <NRF_PSEL(TWIM_SCL, 0, 6)>;
		};
	};
    i2c0_sleep: i2c0_sleep {
		group1 {
			psels = <NRF_PSEL(TWIM_SDA, 0, 26)>, <NRF_PSEL(TWIM_SCL, 0, 6)>;
		};
	};
	spi_master_default: spi_master_default {
		group1 {
			psels = <NRF_PSEL(SPIM_SCK, 0, 4)>,
					<NRF_PSEL(SPIM_MOSI, 0, 22)>,
					<NRF_PSEL(SPIM_MISO, 0, 5)>;
		};
	};
	spi_master_sleep: spi_master_sleep {
		group1 {
			psels = <NRF_PSEL(SPIM_SCK, 0, 4)>,
					<NRF_PSEL(SPIM_MOSI, 0, 22)>,
					<NRF_PSEL(SPIM_MISO, 0, 5)>;
			low-power-enable;
		};
	};	
};

 i2c_0: &i2c0 {
    compatible = "nordic,nrf-twim";
    status = "okay";
    //sda-pin = < 26 >;
    //scl-pin = < 6 >;
	pinctrl-0 = <&i2c0_default>;
	pinctrl-1 = <&i2c0_sleep>;
	pinctrl-names = "default", "sleep";
    label = "i2c";
    clock-frequency = <I2C_BITRATE_STANDARD>;

	shtc3_node: shtcx@70 {
		compatible = "sensirion,shtcx";
		chip = "shtc3";
		measure-mode = "low-power";
		reg = <0x70>;
		label = "SHTC3";
	};
};

my_spi_master: &spi1 {
	compatible = "nordic,nrf-spim";
	status = "okay";
	pinctrl-0 = <&spi_master_default>;
	pinctrl-1 = <&spi_master_sleep>;
	pinctrl-names = "default", "sleep";
	cs-gpios = <&gpio0 16 GPIO_ACTIVE_LOW>;
	reg_my_spi_master: spi-dev-a@0 {
		reg = <0>;
	};
};
 
 &adc {
	 status = "okay";
 };
 
 &gpiote {
	 status = "okay";
 };
 
 &gpio0 {
	 status = "okay";
 };
 
 &gpio1 {
	 status = "okay";
 };
 
 &uart0 {
	 compatible = "nordic,nrf-uarte";
	 status = "disabled";
	 //current-speed = <115200>;
	 //tx-pin = <17>;
	 //rx-pin = <8>;
	 //rts-pin = <5>;
	 //cts-pin = <7>;
 };
 
 &flash0 {
 
	partitions {
		compatible = "fixed-partitions";
		#address-cells = <1>;
		#size-cells = <1>;

		boot_partition: partition@0 {
			label = "mcuboot";
			reg = <0x00000000 0xC000>;
		};
		slot0_partition: partition@c000 {
			label = "image-0";
			reg = <0x0000C000 0x37000>;
		};
		slot1_partition: partition@43000 {
			label = "image-1";
			reg = <0x00043000 0x37000>;
		};
		storage_partition: partition@7a000 {
			label = "storage";
			reg = <0x0007A000 0x00006000>;
		};
	};
 };
 
 &usbd {
	 compatible = "nordic,nrf-usbd";
	 status = "okay";
 };
 
```

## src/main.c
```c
#include <zephyr/kernel.h>

#include <zephyr/sys/printk.h>
#include <stddef.h>
#include <zephyr/sys/util.h>
#include <zephyr/types.h>
#include <sys/_types.h>
#include "ble.h"
#include "bmpZephyr.h"
#include "hdc.h"
#include "lsm6dsr.h"
#include "stcc4Zephyr.h"
#include "bmv080Zephyr.h"
#include "supercap.h"

#include <zephyr/drivers/gpio.h>
#include <zephyr/drivers/sensor.h>

#include <zephyr/bluetooth/bluetooth.h>
#include <zephyr/bluetooth/uuid.h>
#include <zephyr/bluetooth/gatt.h>

#define sensirion_hal_sleep_us sensirion_i2c_hal_sleep_usec

#include <zephyr/drivers/spi.h>
#define FLASH_LABEL "MX25R6435F"

#define FIRMWARE_VERSION_STR "1.0.1"

struct spi_cs_control spi_flash_cs = {
	.gpio = SPI_CS_GPIOS_DT_SPEC_GET(DT_NODELABEL(flash_spi_master)),
	.delay = 0,
};

static const struct spi_config spi_cfg = {
    .frequency = 8000000,
    .operation = SPI_OP_MODE_MASTER | SPI_WORD_SET(8) | SPI_TRANSFER_MSB,
    .slave = 0,
    .cs = &spi_flash_cs,
};

int main(void)
{
        printk("HELLOWORLD\r\n");
        
        //init logging
        logging.enable = true;
        logging.interval_s = 60;
        
        init_ble();
        init_hdc();
        init_bmp();
        init_lsm();
        init_stcc4();
        //init_BAS();
        printk("BMV\r\n");
        init_bmv080();
        init_supercap();


        const struct device *flash_dev = DEVICE_DT_GET(DT_NODELABEL(at25ff161a));
       
        if (!device_is_ready(flash_dev)) {
                printk("SPI NOR Device nicht bereit\n");
        }

        /*
        0xB9 for mx25r6435f
        0x79 for AT25FF161A
        */
       
        uint8_t dpd_cmd = 0xB9;
        int ret = spi_write(flash_dev, &spi_cfg, &(struct spi_buf_set){
                .buffers = &(struct spi_buf){
                .buf = &dpd_cmd,
                .len = 1,
                },
                .count = 1,
        });
        if (ret) {
                printk("Deep Power Down Kommando fehlgeschlagen: %d\n", ret);
        } else {
                printk("Flash-Speicher in DeepSleep versetzt.\n");
        }
        
        
        pm_device_action_run(flash_dev,PM_DEVICE_ACTION_SUSPEND);

        /* Polling bmv080_serve_interrupt() from here (main thread) rather
         * than from a k_timer/k_work on the shared system workqueue - the
         * BMV080 library needs ~10kB of stack per its datasheet, and only
         * main's stack is sized for that (see CONFIG_MAIN_STACK_SIZE). */
        while (1) {
                k_sleep(K_MSEC(BMV080_POLL_INTERVAL_MS));
                bmv080_poll();
        }

        return 0;
}
```

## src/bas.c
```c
#include "bas.h"

//static const struct adc_dt_spec adc_spec = ADC_DT_SPEC_GET_BY_IDX(DT_PATH(zephyr_user), 0);
//static int16_t sample_buffer;
static int16_t m_sample_buffer[BUFFER_SIZE];

static const struct adc_channel_cfg m_1st_channel_cfg = {
	.gain = ADC_GAIN,
	.reference = ADC_REFERENCE,
	.acquisition_time = ADC_ACQUISITION_TIME,
	.channel_id = ADC_1ST_CHANNEL_ID,
#if defined(CONFIG_ADC_CONFIGURABLE_INPUTS)
	.input_positive = NRF_SAADC_INPUT_VDD,
#endif
};

extern void init_BAS(){
	int err = 0;
	adc_dev = DEVICE_DT_GET(DT_NODELABEL(adc));
	if(adc_dev == NULL){
		printf("issue..\n");
	}
	
	err = adc_channel_setup(adc_dev, &m_1st_channel_cfg);
    if (err) {
	    printk("Error in adc setup: %d\n", err);
	}
	
	const struct adc_sequence sequence = {
		.channels = BIT(ADC_1ST_CHANNEL_ID),
		.buffer = m_sample_buffer,
		.buffer_size = sizeof(m_sample_buffer),
		.resolution = ADC_RESOLUTION,
		.oversampling = 4,
	};

	err = adc_read(adc_dev, &sequence);
	if (err) {
        printk("adc_read() failed with code %d\n", err);
	}
	float val;
	for (int i = 0; i < BUFFER_SIZE; i++) {
                //printk("ADC raw value: %d\n", m_sample_buffer[i]);
				//3.6 is max voltage with internal_ref (0.6V) and 1/6 Gain.
                val = (float)m_sample_buffer[i]*3.6/pow(2,ADC_RESOLUTION);
	}
	printk("val %f \r\n",val);
	k_work_init(&work_bas, update_coincell_level);
	k_timer_init(&timer_bas, time_to_update_battery_service,NULL);
	k_timer_start(&timer_bas,K_SECONDS(1),K_SECONDS(10));
        
}


float getVoltage(){

	int ret;
	const struct adc_sequence sequence = {
		.channels = BIT(ADC_1ST_CHANNEL_ID),
		.buffer = m_sample_buffer,
		.buffer_size = sizeof(m_sample_buffer),
		.resolution = ADC_RESOLUTION,
		.oversampling = 4,
	};

	if (!adc_dev) {
		return -1;
	}

	ret = adc_read(adc_dev, &sequence);
	if (ret) {
        printk("adc_read() failed with code %d\n", ret);
	}
	float val;
	for (int i = 0; i < BUFFER_SIZE; i++) {
                //printk("ADC raw value: %d\n", m_sample_buffer[i]);
				//3.6 is max voltage with internal_ref (0.6V) and 1/6 Gain.
                val = (float)m_sample_buffer[i]*3.6/pow(2,ADC_RESOLUTION);
	}
	battery_level(val);
	printk("val %f \r\n",val);
	return val;
}



void update_coincell_level(){
	set_coincell_level(battery_level(getVoltage()));
};

void time_to_update_battery_service(){
	printk("timetosubmit\r\n");
	k_work_submit(&work_bas);
}

uint8_t battery_level(float adc_voltage){
	int bat =(uint8_t)adc_voltage*100/3.1;
	printf("adc: %f bat: %i\n",adc_voltage, bat);
	return bat;
};
```

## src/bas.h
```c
#ifndef _BAS_H /* Include guard */
#define _BAS_H

#include <zephyr/kernel.h>
#include <zephyr/device.h>
#include <zephyr/drivers/adc.h>
#include <hal/nrf_saadc.h>
#include <zephyr/devicetree/io-channels.h>
#include <stdio.h>
#include <math.h>

#define ADC_RESOLUTION     10
#define ADC_GAIN           ADC_GAIN_1_6
#define ADC_REFERENCE      ADC_REF_INTERNAL
#define ADC_ACQUISITION_TIME ADC_ACQ_TIME_DEFAULT

#define ADC_NODE DT_NODELABEL(adc)
#define ADC_CHANNEL 4

#define ADC_1ST_CHANNEL_ID 7
#define ADC_1ST_CHANNEL_INPUT NRF_SAADC_INPUT_AIN7

#define BUFFER_SIZE 1

const static struct device *adc_dev;

extern void init_BAS();
static struct k_timer timer_bas;
static struct k_work work_bas;

void update_coincell_level();
float getVoltage();

uint8_t battery_level(float);
void time_to_update_battery_service();

#endif
```

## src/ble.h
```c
#ifndef _BLE_H   /* Include guard */
#define _BLE_H

#include <zephyr/kernel.h>
#include <zephyr/drivers/gpio.h>
#include <zephyr/device.h>
#include <zephyr/bluetooth/bluetooth.h>
#include <zephyr/bluetooth/gap.h>
#include <zephyr/bluetooth/hci.h>
#include <zephyr/bluetooth/conn.h>
#include <zephyr/bluetooth/uuid.h>
#include <zephyr/bluetooth/gatt.h>
#include <zephyr/bluetooth/services/bas.h>
#include <zephyr/sys/byteorder.h>

#include "sensors.h"

#include "hdc.h"
#include "bmpZephyr.h"
#include "lsm6dsr.h"
#include "stcc4Zephyr.h"
#include "bmv080Zephyr.h"
#include "supercap.h"
#include "event.h"

#define DEVICE_NAME "phyfob"

#define PHYFOB_CONN_PARAMTER 0x01
#define PHYFOB_CUSTOM_NAME 0x02

static struct bt_conn *last_connection;

static uint8_t phyphox_data[20] = {0};
static uint8_t config_data[20] = {0};

void init_ble();

void send_data(uint8_t ID, float* DATA,uint8_t LEN);

void update_advertising(uint8_t t_low, uint8_t t_high, uint8_t h_low, uint8_t h_high);
void basic_advertising();

//void en_logging(bool b);

extern void set_coincell_level(uint8_t val);
uint8_t phyfob_config_received(struct bt_conn *conn);
static struct k_work stop_adv;
void restart_ee_advertising();

static bool BLE_PARAMETER_UPDATED;

static bool notify_enabled;
static void ccc_cfg_changed(const struct bt_gatt_attr *attr,
				 uint16_t value)
{
	notify_enabled = (value == BT_GATT_CCC_NOTIFY) ? 1 : 0;
}

static struct bt_uuid_128 data_service_uuid = BT_UUID_INIT_128(BT_UUID_128_ENCODE(0xcddf1001, 0x30f7, 0x4671, 0x8b43, 0x5e40ba53514a));
static struct bt_uuid_128 event_service_uuid = BT_UUID_INIT_128(BT_UUID_128_ENCODE(0xcddf0001, 0x30f7, 0x4671, 0x8b43, 0x5e40ba53514a));
//BMP
static struct bt_uuid_128 bmp_uuid = BT_UUID_INIT_128(BT_UUID_128_ENCODE(0xcddf1007, 0x30f7, 0x4671, 0x8b43, 0x5e40ba53514a));
static struct bt_uuid_128 bmp_cnfg = BT_UUID_INIT_128(BT_UUID_128_ENCODE(0xcddf1008, 0x30f7, 0x4671, 0x8b43, 0x5e40ba53514a)); 
//LSM
static struct bt_uuid_128 lsm_gyr_uuid = BT_UUID_INIT_128(BT_UUID_128_ENCODE(0xcddf1000, 0x30f7, 0x4671, 0x8b43, 0x5e40ba53514a));
static struct bt_uuid_128 lsm_acc_uuid = BT_UUID_INIT_128(BT_UUID_128_ENCODE(0xcddf1001, 0x30f7, 0x4671, 0x8b43, 0x5e40ba53514a));
static struct bt_uuid_128 lsm_cnfg = BT_UUID_INIT_128(BT_UUID_128_ENCODE(0xcddf1002, 0x30f7, 0x4671, 0x8b43, 0x5e40ba53514a)); 
//HDC
static struct bt_uuid_128 hdc_uuid = BT_UUID_INIT_128(BT_UUID_128_ENCODE(0xcddf1005, 0x30f7, 0x4671, 0x8b43, 0x5e40ba53514a));
static struct bt_uuid_128 hdc_cnfg = BT_UUID_INIT_128(BT_UUID_128_ENCODE(0xcddf1006, 0x30f7, 0x4671, 0x8b43, 0x5e40ba53514a));
//STCC4
static struct bt_uuid_128 stcc4_uuid = BT_UUID_INIT_128(BT_UUID_128_ENCODE(0xcddf100b, 0x30f7, 0x4671, 0x8b43, 0x5e40ba53514a));
static struct bt_uuid_128 stcc4_cnfg = BT_UUID_INIT_128(BT_UUID_128_ENCODE(0xcddf100c, 0x30f7, 0x4671, 0x8b43, 0x5e40ba53514a));
//BMV080
static struct bt_uuid_128 bmv080_uuid = BT_UUID_INIT_128(BT_UUID_128_ENCODE(0xcddf1010, 0x30f7, 0x4671, 0x8b43, 0x5e40ba53514a));
static struct bt_uuid_128 bmv080_cnfg = BT_UUID_INIT_128(BT_UUID_128_ENCODE(0xcddf1011, 0x30f7, 0x4671, 0x8b43, 0x5e40ba53514a));
//SUPERCAP
static struct bt_uuid_128 supercap_uuid = BT_UUID_INIT_128(BT_UUID_128_ENCODE(0xcddf1012, 0x30f7, 0x4671, 0x8b43, 0x5e40ba53514a));
static struct bt_uuid_128 supercap_cnfg = BT_UUID_INIT_128(BT_UUID_128_ENCODE(0xcddf1013, 0x30f7, 0x4671, 0x8b43, 0x5e40ba53514a));

static struct bt_uuid_128 phyfob_cnfg = BT_UUID_INIT_128(BT_UUID_128_ENCODE(0xcddf1022, 0x30f7, 0x4671, 0x8b43, 0x5e40ba53514a));

static struct bt_uuid_128 event_uuid = BT_UUID_INIT_128(BT_UUID_128_ENCODE(0xcddf0004, 0x30f7, 0x4671, 0x8b43, 0x5e40ba53514a)); 


#endif
```

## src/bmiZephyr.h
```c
#ifndef _BMIZEPHYR_H
#define _BMIZEPHYR_H

#include "bmi3.h"
#include "bmi323_defs.h"
#include "bmi323.h"
//#include <zephyr/drivers/i2c.h>
#include <zephyr/drivers/gpio.h>
#include "sensors.h"
#include <stdio.h>
#include <math.h>
#include <zephyr/drivers/spi.h>

#define BMI3_SENSOR_OK 0x00
#define BMI384_I2C_ADDR	0x68
#define BMI_INT DT_NODELABEL(button0)

#define BMI_X 0b00000001
#define BMI_Y 0b00000010
#define BMI_Z 0b00000100
#define BMI_ABS 0b00001000

const static struct device *bmi_dev = DEVICE_DT_GET(DT_ALIAS(spi));

extern int8_t init_bmi();
extern void submit_config_bmi();
extern uint8_t sleep_bmi(bool SLEEP);

static struct k_work work_bmi;
static struct k_work config_work_bmi;

static int8_t bmiResult;
static uint8_t dByte;

static struct device *spi_dev;


static struct bmi3_dev bmi3_dev;
//static struct bmi3_data bmi_data;
static struct bmi3_sensor_data sensor_data[2] = {{ 0 }};
static struct bmi3_sens_config config[2] = {{ 0 }};


static uint8_t*  bmi_en;
static uint8_t*  bmi_rate;
static uint8_t*  bmi_range_acc;
static uint8_t*  bmi_range_gyr;
static uint8_t*  bmi_average;
static uint8_t*  bmi_axis;
static uint8_t*  bmi_event_size;

#endif
```
